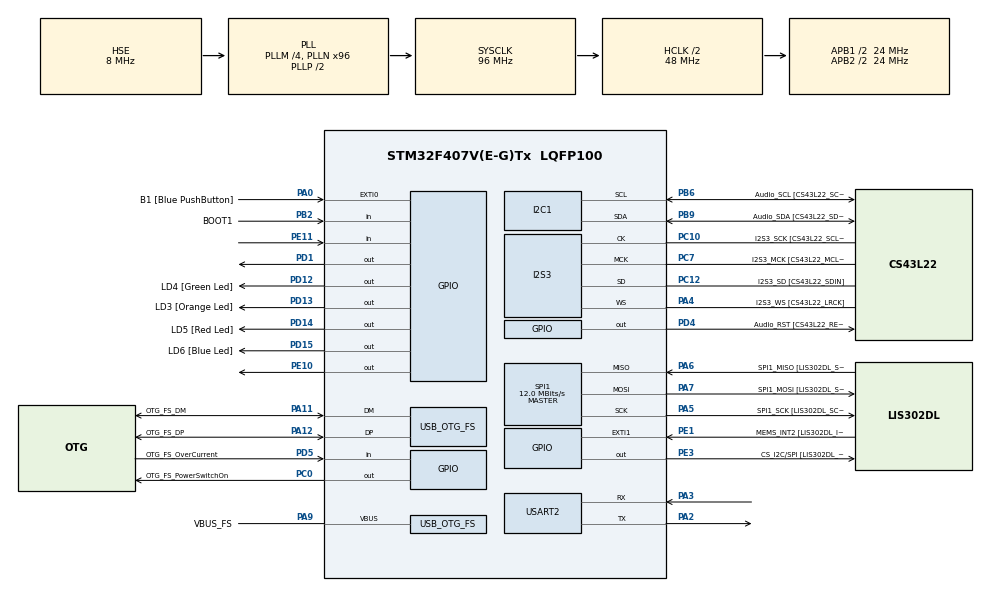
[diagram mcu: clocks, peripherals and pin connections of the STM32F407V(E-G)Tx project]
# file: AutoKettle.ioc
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Dma.Request0=USART2_RX
Dma.Request1=USART2_TX
Dma.USART2_RX.0.Direction=DMA_PERIPH_TO_MEMORY
Dma.USART2_RX.0.FIFOMode=DMA_FIFOMODE_DISABLE
Dma.USART2_RX.0.Instance=DMA1_Stream5
Dma.USART2_RX.0.MemDataAlignment=DMA_MDATAALIGN_BYTE
Dma.USART2_RX.0.MemInc=DMA_MINC_ENABLE
Dma.USART2_RX.0.Mode=DMA_CIRCULAR
Dma.USART2_RX.0.PeriphDataAlignment=DMA_PDATAALIGN_BYTE
Dma.USART2_RX.0.PeriphInc=DMA_PINC_DISABLE
Dma.USART2_RX.0.Priority=DMA_PRIORITY_VERY_HIGH
Dma.USART2_TX.1.Direction=DMA_MEMORY_TO_PERIPH
Dma.USART2_TX.1.FIFOMode=DMA_FIFOMODE_DISABLE
Dma.USART2_TX.1.Instance=DMA1_Stream6
Dma.USART2_TX.1.MemDataAlignment=DMA_MDATAALIGN_BYTE
Dma.USART2_TX.1.MemInc=DMA_MINC_ENABLE
Dma.USART2_TX.1.Mode=DMA_NORMAL
Dma.USART2_TX.1.PeriphDataAlignment=DMA_PDATAALIGN_BYTE
Dma.USART2_TX.1.PeriphInc=DMA_PINC_DISABLE
Dma.USART2_TX.1.Priority=DMA_PRIORITY_LOW
I2S3.AudioFreq=I2S_AUDIOFREQ_48K
I2S3.AudioFreq-Half_Duplex_Master=I2S_AUDIOFREQ_96K
I2S3.ErrorAudioFreq=1.72 %
I2S3.ErrorAudioFreq-Half_Duplex_Master=0.8 %
I2S3.FullDuplexMode=I2S_FULLDUPLEXMODE_DISABLE
I2S3.Instance=SPI$Index
I2S3.RealAudioFreq=48.828 KHz
I2S3.RealAudioFreq-Half_Duplex_Master=96.774 KHz
I2S3.VirtualMode=I2S_MODE_MASTER
Mcu.Family=STM32F4
Mcu.Name=STM32F407V(E-G)Tx
Mcu.Package=LQFP100
NVIC.DMA1_Stream5_IRQn=true\:0\:0\:false\:false\:true\:false
NVIC.DMA1_Stream6_IRQn=true\:0\:0\:false\:false\:true\:false
NVIC.OTG_FS_IRQn=true\:0\:0\:false\:false\:true\:true
NVIC.PriorityGroup=NVIC_PRIORITYGROUP_0
NVIC.RTC_Alarm_IRQn=true\:0\:1\:false\:false\:true\:true
NVIC.TIM3_IRQn=true\:0\:2\:true\:false\:true\:true
NVIC.USART2_IRQn=true\:0\:0\:false\:false\:true\:true
PA0-WKUP.GPIO_Label=B1 [Blue PushButton]
PA0-WKUP.GPIO_ModeDefaultEXTI=GPIO_MODE_EVT_RISING
PA0-WKUP.GPIO_PuPd=GPIO_NOPULL
PA0-WKUP.Signal=GPXTI0
PA10.GPIO_Label=OTG_FS_ID
PA10.GPIO_Mode=GPIO_MODE_AF_PP
PA10.GPIO_PuPd=GPIO_NOPULL
PA10.GPIO_Speed=GPIO_SPEED_FREQ_LOW
PA10.Signal=USB_OTG_FS_ID
PA11.GPIO_Label=OTG_FS_DM
PA11.GPIO_Mode=GPIO_MODE_AF_PP
PA11.GPIO_PuPd=GPIO_NOPULL
PA11.GPIO_Speed=GPIO_SPEED_FREQ_LOW
PA11.Mode=Host_Only
PA11.Signal=USB_OTG_FS_DM
PA12.GPIO_Label=OTG_FS_DP
PA12.GPIO_Mode=GPIO_MODE_AF_PP
PA12.GPIO_PuPd=GPIO_NOPULL
PA12.GPIO_Speed=GPIO_SPEED_FREQ_LOW
PA12.Mode=Host_Only
PA12.Signal=USB_OTG_FS_DP
PA13.GPIO_Label=SWDIO
PA13.Mode=Serial_Wire
PA13.Signal=SYS_JTMS-SWDIO
PA14.GPIO_Label=SWCLK
PA14.Mode=Serial_Wire
PA14.Signal=SYS_JTCK-SWCLK
PA2.Mode=Asynchronous
PA2.Signal=USART2_TX
PA3.Mode=Asynchronous
PA3.Signal=USART2_RX
PA4.GPIO_Label=I2S3_WS [CS43L22_LRCK]
PA4.GPIO_Mode=GPIO_MODE_AF_PP
PA4.GPIO_PuPd=GPIO_NOPULL
PA4.GPIO_Speed=GPIO_SPEED_FREQ_LOW
PA4.Mode=Half_Duplex_Master
PA4.Signal=I2S3_WS
PA5.GPIO_Label=SPI1_SCK [LIS302DL_SCL/SPC]
PA5.GPIO_Mode=GPIO_MODE_AF_PP
PA5.GPIO_PuPd=GPIO_NOPULL
PA5.GPIO_Speed=GPIO_SPEED_FREQ_LOW
PA5.Mode=Full_Duplex_Master
PA5.Signal=SPI1_SCK
PA6.GPIO_Label=SPI1_MISO [LIS302DL_SDO]
PA6.GPIO_Mode=GPIO_MODE_AF_PP
PA6.GPIO_PuPd=GPIO_NOPULL
PA6.GPIO_Speed=GPIO_SPEED_FREQ_LOW
PA6.Mode=Full_Duplex_Master
PA6.Signal=SPI1_MISO
PA7.GPIO_Label=SPI1_MOSI [LIS302DL_SDA/SDI/SDO]
PA7.GPIO_Mode=GPIO_MODE_AF_PP
PA7.GPIO_PuPd=GPIO_NOPULL
PA7.GPIO_Speed=GPIO_SPEED_FREQ_LOW
PA7.Mode=Full_Duplex_Master
PA7.Signal=SPI1_MOSI
PA9.GPIO_Label=VBUS_FS
PA9.GPIO_Mode=GPIO_MODE_INPUT
PA9.GPIO_PuPd=GPIO_NOPULL
PA9.Mode=Activate_VBUS
PA9.Signal=USB_OTG_FS_VBUS
PB10.GPIO_Label=CLK_IN [MP45DT02_CLK]
PB10.GPIO_Mode=GPIO_MODE_AF_PP
PB10.GPIO_PuPd=GPIO_NOPULL
PB10.GPIO_Speed=GPIO_SPEED_FREQ_LOW
PB10.Signal=I2S2_CK
PB2.GPIO_Label=BOOT1
PB2.GPIO_Mode=GPIO_MODE_INPUT
PB2.GPIO_PuPd=GPIO_NOPULL
PB2.Signal=GPIO_Input
PB3.GPIO_Label=SWO
PB3.Signal=SYS_JTDO-SWO
PB6.GPIO_Label=Audio_SCL [CS43L22_SCL]
PB6.GPIO_Mode=GPIO_MODE_AF_OD
PB6.GPIO_PuPd=GPIO_NOPULL
PB6.GPIO_Speed=GPIO_SPEED_FREQ_LOW
PB6.Mode=I2C
PB6.Signal=I2C1_SCL
PB9.GPIO_Label=Audio_SDA [CS43L22_SDA]
PB9.GPIO_Mode=GPIO_MODE_AF_OD
PB9.GPIO_PuPd=GPIO_NOPULL
PB9.GPIO_Speed=GPIO_SPEED_FREQ_LOW
PB9.Mode=I2C
PB9.Signal=I2C1_SDA
PC0.GPIO_Label=OTG_FS_PowerSwitchOn
PC0.GPIO_PuPd=GPIO_NOPULL
PC0.GPIO_Speed=GPIO_SPEED_FREQ_LOW
PC0.PinState=GPIO_PIN_SET
PC0.Signal=GPIO_Output
PC10.GPIO_Label=I2S3_SCK [CS43L22_SCLK]
PC10.GPIO_Mode=GPIO_MODE_AF_PP
PC10.GPIO_PuPd=GPIO_NOPULL
PC10.GPIO_Speed=GPIO_SPEED_FREQ_LOW
PC10.Mode=Half_Duplex_Master
PC10.Signal=I2S3_CK
PC12.GPIO_Label=I2S3_SD [CS43L22_SDIN]
PC12.GPIO_Mode=GPIO_MODE_AF_PP
PC12.GPIO_PuPd=GPIO_NOPULL
PC12.GPIO_Speed=GPIO_SPEED_FREQ_LOW
PC12.Mode=Half_Duplex_Master
PC12.Signal=I2S3_SD
PC14-OSC32_IN.GPIO_Label=PC14-OSC32_IN
PC14-OSC32_IN.Mode=LSE-External-Oscillator
PC14-OSC32_IN.Signal=RCC_OSC32_IN
PC15-OSC32_OUT.GPIO_Label=PC15-OSC32_OUT
PC15-OSC32_OUT.Mode=LSE-External-Oscillator
PC15-OSC32_OUT.Signal=RCC_OSC32_OUT
PC3.GPIO_Label=PDM_OUT [MP45DT02_DOUT]
PC3.GPIO_Mode=GPIO_MODE_AF_PP
PC3.GPIO_PuPd=GPIO_NOPULL
PC3.GPIO_Speed=GPIO_SPEED_FREQ_LOW
PC3.Signal=I2S2_SD
PC7.GPIO_Label=I2S3_MCK [CS43L22_MCLK]
PC7.GPIO_Mode=GPIO_MODE_AF_PP
PC7.GPIO_PuPd=GPIO_NOPULL
PC7.GPIO_Speed=GPIO_SPEED_FREQ_LOW
PC7.Mode=Master_Clock_Activated
PC7.Signal=I2S3_MCK
PD1.GPIO_ModeDefaultOutputPP=GPIO_MODE_OUTPUT_OD
PD1.Signal=GPIO_Output
PD12.GPIO_Label=LD4 [Green Led]
PD12.GPIO_PuPd=GPIO_NOPULL
PD12.GPIO_Speed=GPIO_SPEED_FREQ_LOW
PD12.Signal=GPIO_Output
PD13.GPIO_Label=LD3 [Orange Led]
PD13.GPIO_PuPd=GPIO_NOPULL
PD13.GPIO_Speed=GPIO_SPEED_FREQ_LOW
PD13.Signal=GPIO_Output
PD14.GPIO_Label=LD5 [Red Led]
PD14.GPIO_PuPd=GPIO_NOPULL
PD14.GPIO_Speed=GPIO_SPEED_FREQ_LOW
PD14.Signal=GPIO_Output
PD15.GPIO_Label=LD6 [Blue Led]
PD15.GPIO_PuPd=GPIO_NOPULL
PD15.GPIO_Speed=GPIO_SPEED_FREQ_LOW
PD15.Signal=GPIO_Output
PD4.GPIO_Label=Audio_RST [CS43L22_RESET]
PD4.GPIO_PuPd=GPIO_NOPULL
PD4.GPIO_Speed=GPIO_SPEED_FREQ_LOW
PD4.Signal=GPIO_Output
PD5.GPIO_Label=OTG_FS_OverCurrent
PD5.GPIO_Mode=GPIO_MODE_INPUT
PD5.GPIO_PuPd=GPIO_NOPULL
PD5.Signal=GPIO_Input
PE1.GPIO_Label=MEMS_INT2 [LIS302DL_INT2]
PE1.GPIO_ModeDefaultEXTI=GPIO_MODE_EVT_RISING
PE1.GPIO_PuPd=GPIO_NOPULL
PE1.Signal=GPXTI1
PE10.Signal=GPIO_Output
PE11.Signal=GPIO_Input
PE3.GPIO_Label=CS_I2C/SPI [LIS302DL_CS_I2C/SPI]
PE3.GPIO_PuPd=GPIO_NOPULL
PE3.GPIO_Speed=GPIO_SPEED_FREQ_LOW
PE3.Signal=GPIO_Output
PH0-OSC_IN.GPIO_Label=PH0-OSC_IN
PH0-OSC_IN.Mode=HSE-External-Oscillator
PH0-OSC_IN.Signal=RCC_OSC_IN
PH1-OSC_OUT.GPIO_Label=PH1-OSC_OUT
PH1-OSC_OUT.Mode=HSE-External-Oscillator
PH1-OSC_OUT.Signal=RCC_OSC_OUT
ProjectManager.HeapSize=0x200
ProjectManager.StackSize=0x400
ProjectManager.TargetToolchain=SW4STM32
RCC.48MHZClocksFreq_Value=48000000
RCC.AHBCLKDivider=RCC_SYSCLK_DIV2
RCC.AHBFreq_Value=48000000
RCC.APB1CLKDivider=RCC_HCLK_DIV2
RCC.APB1Freq_Value=24000000
RCC.APB1TimFreq_Value=48000000
RCC.APB2CLKDivider=RCC_HCLK_DIV2
RCC.APB2Freq_Value=24000000
RCC.APB2TimFreq_Value=48000000
RCC.CortexFreq_Value=48000000
RCC.HCLKFreq_Value=48000000
RCC.HSE_VALUE=8000000
RCC.HSI_VALUE=16000000
RCC.PLLI2SN=50
RCC.PLLM=4
RCC.PLLN=96
RCC.SYSCLKFreq_VALUE=96000000
RCC.SYSCLKSource=RCC_SYSCLKSOURCE_PLLCLK
RCC.VCOOutputFreq_Value=192000000
RTC.Alarm=RTC_ALARM_A
RTC.AlarmDateWeekDay=RTC_WEEKDAY_MONDAY
RTC.AlarmDateWeekDaySel=RTC_ALARMDATEWEEKDAYSEL_WEEKDAY
RTC.AlarmDateWeekDaySel_B=RTC_ALARMDATEWEEKDAYSEL_WEEKDAY
RTC.AlarmMaskSeconds=RTC_ALARMMASK_SECONDS
RTC.AlarmMaskSeconds_B=RTC_ALARMMASK_SECONDS
RTC.Alarm_B=RTC_ALARM_B
RTC.Date=19
RTC.Format=RTC_FORMAT_BIN
RTC.Hours=0
RTC.Hours_A=0
RTC.Hours_B=0
RTC.Minutes=0
RTC.Minutes_A=0
RTC.Month=RTC_MONTH_DECEMBER
RTC.Seconds=0
RTC.WeekDay=RTC_WEEKDAY_WEDNESDAY
RTC.Year=18
SPI1.BaudRatePrescaler-Full_Duplex_Master=SPI_BAUDRATEPRESCALER_2
SPI1.CalculateBaudRate=12.0 MBits/s
SPI1.CalculateBaudRate-Full_Duplex_Master=42.0 MBits/s
SPI1.Direction=SPI_DIRECTION_2LINES
SPI1.Mode=SPI_MODE_MASTER
SPI1.Mode-Full_Duplex_Master=SPI_MODE_MASTER
SPI1.VirtualType=VM_MASTER
TIM3.Period=4999
TIM3.Prescaler=47999
USART2.VirtualMode=VM_ASYNC
USB_HOST.BSP.number=1
USB_HOST.USBH_HandleTypeDef-CDC_FS=hUsbHostFS
USB_HOST.VirtualModeFS=Cdc
USB_HOST0.BSP.STBoard=false
USB_HOST0.BSP.api=Unknown
USB_HOST0.BSP.i2caddr=0
USB_HOST0.BSP.i2creg=0
USB_HOST0.BSP.instance=PC0
USB_HOST0.BSP.ip=GPIO
USB_HOST0.BSP.mode=Output
USB_HOST0.BSP.name=Drive_VBUS_FS
USB_HOST0.BSP.solution=PC0
USB_OTG_FS.VirtualMode=Host_Only
USB_OTG_FS.phy_itface=HCD_PHY_EMBEDDED
VP_RTC_VS_RTC_Activate.Mode=RTC_Enabled
VP_RTC_VS_RTC_Alarm_A_Intern.Mode=Alarm A
VP_RTC_VS_RTC_Alarm_B_Intern.Mode=Alarm B
VP_RTC_VS_RTC_Calendar.Mode=RTC_Calendar
VP_TIM3_VS_ClockSourceINT.Mode=Internal
VP_USB_HOST_VS_USB_HOST_CDC_FS.Mode=CDC_FS
board=STM32F4DISCOVERY

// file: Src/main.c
/**
 ******************************************************************************
 * @file           : main.c
 * @brief          : Main program body
 ******************************************************************************
 * This notice applies to any and all portions of this file
 * that are not between comment pairs USER CODE BEGIN and
 * USER CODE END. Other portions of this file, whether
 * inserted by the user or by software development tools
 * are owned by their respective copyright owners.
 *
 * Copyright (c) 2018 STMicroelectronics International N.V.
 * All rights reserved.
 *
 * Redistribution and use in source and binary forms, with or without
 * modification, are permitted, provided that the following conditions are met:
 *
 * 1. Redistribution of source code must retain the above copyright notice,
 *    this list of conditions and the following disclaimer.
 * 2. Redistributions in binary form must reproduce the above copyright notice,
 *    this list of conditions and the following disclaimer in the documentation
 *    and/or other materials provided with the distribution.
 * 3. Neither the name of STMicroelectronics nor the names of other
 *    contributors to this software may be used to endorse or promote products
 *    derived from this software without specific written permission.
 * 4. This software, including modifications and/or derivative works of this
 *    software, must execute solely and exclusively on microcontroller or
 *    microprocessor devices manufactured by or for STMicroelectronics.
 * 5. Redistribution and use of this software other than as permitted under
 *    this license is void and will automatically terminate your rights under
 *    this license.
 *
 * THIS SOFTWARE IS PROVIDED BY STMICROELECTRONICS AND CONTRIBUTORS "AS IS"
 * AND ANY EXPRESS, IMPLIED OR STATUTORY WARRANTIES, INCLUDING, BUT NOT
 * LIMITED TO, THE IMPLIED WARRANTIES OF MERCHANTABILITY, FITNESS FOR A
 * PARTICULAR PURPOSE AND NON-INFRINGEMENT OF THIRD PARTY INTELLECTUAL PROPERTY
 * RIGHTS ARE DISCLAIMED TO THE FULLEST EXTENT PERMITTED BY LAW. IN NO EVENT
 * SHALL STMICROELECTRONICS OR CONTRIBUTORS BE LIABLE FOR ANY DIRECT, INDIRECT,
 * INCIDENTAL, SPECIAL, EXEMPLARY, OR CONSEQUENTIAL DAMAGES (INCLUDING, BUT NOT
 * LIMITED TO, PROCUREMENT OF SUBSTITUTE GOODS OR SERVICES; LOSS OF USE, DATA,
 * OR PROFITS; OR BUSINESS INTERRUPTION) HOWEVER CAUSED AND ON ANY THEORY OF
 * LIABILITY, WHETHER IN CONTRACT, STRICT LIABILITY, OR TORT (INCLUDING
 * NEGLIGENCE OR OTHERWISE) ARISING IN ANY WAY OUT OF THE USE OF THIS SOFTWARE,
 * EVEN IF ADVISED OF THE POSSIBILITY OF SUCH DAMAGE.
 *
 ******************************************************************************
 */
#include "main.h"
#include "stm32f4xx_hal.h"
#include "usb_host.h"

/* USER CODE BEGIN Includes */
#include "hx711.h"
/* USER CODE END Includes */

I2C_HandleTypeDef hi2c1;

I2S_HandleTypeDef hi2s3;

RTC_HandleTypeDef hrtc;

SPI_HandleTypeDef hspi1;

TIM_HandleTypeDef htim3;

UART_HandleTypeDef huart2;
DMA_HandleTypeDef hdma_usart2_rx;
DMA_HandleTypeDef hdma_usart2_tx;

/* USER CODE BEGIN PV */
/* Private variables ---------------------------------------------------------*/
HX711 Wsensor;
char command[18];
int relay = 1;
int alarm = 0;
int inAlarm = 0;
RTC_TimeTypeDef sTime;
RTC_DateTypeDef sDate;
RTC_AlarmTypeDef sAlarmA, sAlarmB;
/* USER CODE END PV */

void SystemClock_Config(void);
static void MX_GPIO_Init(void);
static void MX_DMA_Init(void);
static void MX_I2C1_Init(void);
static void MX_I2S3_Init(void);
static void MX_SPI1_Init(void);
static void MX_USART2_UART_Init(void);
static void MX_RTC_Init(void);
static void MX_TIM3_Init(void);
void MX_USB_HOST_Process(void);

/* USER CODE BEGIN PFP */
/* Private function prototypes -----------------------------------------------*/

/* USER CODE END PFP */

/* USER CODE BEGIN 0 */
void HAL_UART_RxCpltCallback(UART_HandleTypeDef *huart) {
	if (command[9] == 'R') {
		if (command[10] == '0') {
			HAL_GPIO_WritePin(GPIOD, GPIO_PIN_1, GPIO_PIN_SET);
			relay = 0;
		} else if (command[10] == '1') {
			HAL_GPIO_WritePin(GPIOD, GPIO_PIN_1, GPIO_PIN_RESET);
			relay = 1;
		}
	} else if (command[9] == 'T') {
		sTime.Hours = ((uint8_t) (command[10] - '0')) * 10
				+ ((uint8_t) (command[11] - '0'));
		sTime.Minutes = ((uint8_t) (command[13] - '0')) * 10
				+ ((uint8_t) (command[14] - '0'));
		sTime.Seconds = ((uint8_t) (command[16] - '0')) * 10
				+ ((uint8_t) (command[17] - '0'));
		HAL_RTC_SetTime(&hrtc, &sTime, RTC_FORMAT_BIN);
	} else if (command[9] == 'A') {
		if (command[10] == 'F') {
			HAL_RTC_DeactivateAlarm(&hrtc, RTC_ALARM_A);
			HAL_RTC_DeactivateAlarm(&hrtc, RTC_ALARM_B);
		} else {
			HAL_RTC_GetTime(&hrtc, &sTime, RTC_FORMAT_BIN);
			HAL_RTC_GetDate(&hrtc, &sDate, RTC_FORMAT_BIN);
			sAlarmA.AlarmTime.Hours = ((uint8_t) (command[10] - '0')) * 10
					+ ((uint8_t) (command[11] - '0'));
			sAlarmA.AlarmTime.Minutes = ((uint8_t) (command[13] - '0')) * 10
					+ ((uint8_t) (command[14] - '0'));
			sAlarmA.AlarmTime.Seconds = ((uint8_t) (command[16] - '0')) * 10
					+ ((uint8_t) (command[17] - '0'));
			if (sTime.Hours > sAlarmA.AlarmTime.Hours) {
				if (sDate.WeekDay == RTC_WEEKDAY_SUNDAY) {
					sAlarmA.AlarmDateWeekDay = RTC_WEEKDAY_MONDAY;
				} else {
					sAlarmA.AlarmDateWeekDay = sDate.WeekDay + (uint8_t) 0x01;
				}
			} else if (sTime.Hours < sAlarmA.AlarmTime.Hours) {
				sAlarmA.AlarmDateWeekDay = sDate.WeekDay;
			} else {
				if (sTime.Minutes >= sAlarmA.AlarmTime.Minutes) {
					if (sDate.WeekDay == RTC_WEEKDAY_SUNDAY) {
						sAlarmA.AlarmDateWeekDay = RTC_WEEKDAY_MONDAY;
					} else {
						sAlarmA.AlarmDateWeekDay = sDate.WeekDay
								+ (uint8_t) 0x01;
					}
				} else {
					sAlarmA.AlarmDateWeekDay = sDate.WeekDay;
				}
			}

			HAL_RTC_SetAlarm_IT(&hrtc, &sAlarmA, RTC_FORMAT_BIN);
		}
	}
}
void HAL_UART_RxHalfCpltCallback(UART_HandleTypeDef *huart) {
	if (command[0] == 'R') {
		if (command[1] == '0') {
			HAL_GPIO_WritePin(GPIOD, GPIO_PIN_1, GPIO_PIN_SET);
			relay = 0;
		} else if (command[1] == '1') {
			HAL_GPIO_WritePin(GPIOD, GPIO_PIN_1, GPIO_PIN_RESET);
			relay = 1;
		}
	} else if (command[0] == 'T') {
		sTime.Hours = ((uint8_t) (command[1] - '0')) * 10
				+ ((uint8_t) (command[2] - '0'));
		sTime.Minutes = ((uint8_t) (command[4] - '0')) * 10
				+ ((uint8_t) (command[5] - '0'));
		sTime.Seconds = ((uint8_t) (command[7] - '0')) * 10
				+ ((uint8_t) (command[8] - '0'));
		HAL_RTC_SetTime(&hrtc, &sTime, RTC_FORMAT_BIN);
	} else if (command[0] == 'A') {
		if (command[1] == 'F') {
			HAL_RTC_DeactivateAlarm(&hrtc, RTC_ALARM_A);
			HAL_RTC_DeactivateAlarm(&hrtc, RTC_ALARM_B);
		} else {
			HAL_RTC_GetTime(&hrtc, &sTime, RTC_FORMAT_BIN);
			HAL_RTC_GetDate(&hrtc, &sDate, RTC_FORMAT_BIN);
			sAlarmA.AlarmTime.Hours = ((uint8_t) (command[1] - '0')) * 10
					+ ((uint8_t) (command[2] - '0'));
			sAlarmA.AlarmTime.Minutes = ((uint8_t) (command[4] - '0')) * 10
					+ ((uint8_t) (command[5] - '0'));
			sAlarmA.AlarmTime.Seconds = ((uint8_t) (command[7] - '0')) * 10
					+ ((uint8_t) (command[8] - '0'));
			if (sTime.Hours > sAlarmA.AlarmTime.Hours) {
				if (sDate.WeekDay == RTC_WEEKDAY_SUNDAY) {
					sAlarmA.AlarmDateWeekDay = RTC_WEEKDAY_MONDAY;
				} else {
					sAlarmA.AlarmDateWeekDay = sDate.WeekDay + (uint8_t) 0x01;
				}
			} else if (sTime.Hours < sAlarmA.AlarmTime.Hours) {
				sAlarmA.AlarmDateWeekDay = sDate.WeekDay;
			} else {
				if (sTime.Minutes >= sAlarmA.AlarmTime.Minutes) {
					if (sDate.WeekDay == RTC_WEEKDAY_SUNDAY) {
						sAlarmA.AlarmDateWeekDay = RTC_WEEKDAY_MONDAY;
					} else {
						sAlarmA.AlarmDateWeekDay = sDate.WeekDay
								+ (uint8_t) 0x01;
					}
				} else {
					sAlarmA.AlarmDateWeekDay = sDate.WeekDay;
				}
			}

			HAL_RTC_SetAlarm_IT(&hrtc, &sAlarmA, RTC_FORMAT_BIN);
		}
	}

}

void HAL_RTC_AlarmAEventCallback(RTC_HandleTypeDef *hrtc) {
	HAL_GPIO_WritePin(GPIOD, GPIO_PIN_1, GPIO_PIN_RESET);
	relay = 1;

	HAL_RTC_GetAlarm(hrtc, &sAlarmA, RTC_ALARM_A, RTC_FORMAT_BIN);

	if (sAlarmA.AlarmTime.Hours == 23 && sAlarmA.AlarmTime.Minutes >= 50) {
		if (sAlarmA.AlarmDateWeekDay == RTC_WEEKDAY_SUNDAY) {
			sAlarmB.AlarmDateWeekDay = RTC_WEEKDAY_MONDAY;
		} else {
			sAlarmB.AlarmDateWeekDay = sAlarmA.AlarmDateWeekDay
					+ (uint8_t) 0x01;
		}
		sAlarmB.AlarmTime.Hours = 0;
		sAlarmB.AlarmTime.Minutes = (sAlarmA.AlarmTime.Minutes + 10) % 60;
	} else {
		sAlarmB.AlarmDateWeekDay = sAlarmA.AlarmDateWeekDay;
		if (sAlarmA.AlarmTime.Minutes >= 50) {
			sAlarmB.AlarmTime.Hours = sAlarmA.AlarmTime.Hours + 1;
		} else {
			sAlarmB.AlarmTime.Hours = sAlarmA.AlarmTime.Hours;
		}
		sAlarmB.AlarmTime.Minutes = (sAlarmA.AlarmTime.Minutes + 10) % 60;

	}
	HAL_RTC_SetAlarm_IT(hrtc, &sAlarmB, RTC_FORMAT_BIN);

	if (sAlarmA.AlarmDateWeekDay == RTC_WEEKDAY_SUNDAY) {
		sAlarmA.AlarmDateWeekDay = RTC_WEEKDAY_MONDAY;
	} else {
		sAlarmA.AlarmDateWeekDay = sAlarmA.AlarmDateWeekDay + (uint8_t) 0x01;
	}
	HAL_RTC_SetAlarm_IT(hrtc, &sAlarmA, RTC_FORMAT_BIN);
}

void HAL_RTCEx_AlarmBEventCallback(RTC_HandleTypeDef *hrtc) {
	HAL_GPIO_WritePin(GPIOD, GPIO_PIN_1, GPIO_PIN_SET);
	relay = 0;
	HAL_RTC_DeactivateAlarm(hrtc, RTC_ALARM_B);
}
/* USER CODE END 0 */

int main(void) {

	/* MCU Configuration----------------------------------------------------------*/

	/* Reset of all peripherals, Initializes the Flash interface and the Systick. */
	HAL_Init();

	/* Configure the system clock */
	SystemClock_Config();

	/* Initialize all configured peripherals */
	MX_GPIO_Init();
	MX_DMA_Init();
	MX_I2C1_Init();
	MX_I2S3_Init();
	MX_SPI1_Init();
	MX_USB_HOST_Init();
	MX_USART2_UART_Init();
	MX_RTC_Init();
	MX_TIM3_Init();
	/* USER CODE BEGIN 2 */
	HAL_TIM_Base_Start_IT(&htim3);
	HAL_RTC_DeactivateAlarm(&hrtc, RTC_ALARM_A);
	HAL_RTC_DeactivateAlarm(&hrtc, RTC_ALARM_B);
	Wsensor.PD_SCK_PinType = GPIOE;
	Wsensor.PD_SCK_PinNumber = GPIO_PIN_10;
	Wsensor.DOUT_PinType = GPIOE;
	Wsensor.DOUT_PinNumber = GPIO_PIN_11;
	Wsensor.mode = 0;
	Wsensor.offset = 110000;
	HAL_GPIO_WritePin(GPIOD, GPIO_PIN_1, GPIO_PIN_SET);
	relay = 0;
	HAL_UART_Receive_DMA(&huart2, (uint8_t *) command, 18);

	/* USER CODE END 2 */

	/* Infinite loop */
	while (1) {
		MX_USB_HOST_Process();

		/* USER CODE BEGIN 3 */
		//HAL_RTC_GetTime(&hrtc, &sTime, RTC_FORMAT_BIN); //For debugging
		//HAL_RTC_GetDate(&hrtc, &sDate, RTC_FORMAT_BIN); //For debugging
		//HAL_RTC_GetAlarm(&hrtc, &sAlarmA, RTC_ALARM_A, RTC_FORMAT_BIN); //For debugging
		//HAL_RTC_GetAlarm(&hrtc, &sAlarmB, RTC_ALARM_B, RTC_FORMAT_BIN); //For debugging
		//HAL_Delay(100); //For debugging
	}
	/* USER CODE END 3 */

}

void SystemClock_Config(void) {

	RCC_OscInitTypeDef RCC_OscInitStruct;
	RCC_ClkInitTypeDef RCC_ClkInitStruct;
	RCC_PeriphCLKInitTypeDef PeriphClkInitStruct;

	/**Configure the main internal regulator output voltage
	 */
	__HAL_RCC_PWR_CLK_ENABLE()
	;

	__HAL_PWR_VOLTAGESCALING_CONFIG(PWR_REGULATOR_VOLTAGE_SCALE1);

	/**Initializes the CPU, AHB and APB busses clocks
	 */
	RCC_OscInitStruct.OscillatorType = RCC_OSCILLATORTYPE_LSI
			| RCC_OSCILLATORTYPE_HSE;
	RCC_OscInitStruct.HSEState = RCC_HSE_ON;
	RCC_OscInitStruct.LSIState = RCC_LSI_ON;
	RCC_OscInitStruct.PLL.PLLState = RCC_PLL_ON;
	RCC_OscInitStruct.PLL.PLLSource = RCC_PLLSOURCE_HSE;
	RCC_OscInitStruct.PLL.PLLM = 4;
	RCC_OscInitStruct.PLL.PLLN = 96;
	RCC_OscInitStruct.PLL.PLLP = RCC_PLLP_DIV2;
	RCC_OscInitStruct.PLL.PLLQ = 4;
	if (HAL_RCC_OscConfig(&RCC_OscInitStruct) != HAL_OK) {
		_Error_Handler(__FILE__, __LINE__);
	}

	/**Initializes the CPU, AHB and APB busses clocks
	 */
	RCC_ClkInitStruct.ClockType = RCC_CLOCKTYPE_HCLK | RCC_CLOCKTYPE_SYSCLK
			| RCC_CLOCKTYPE_PCLK1 | RCC_CLOCKTYPE_PCLK2;
	RCC_ClkInitStruct.SYSCLKSource = RCC_SYSCLKSOURCE_PLLCLK;
	RCC_ClkInitStruct.AHBCLKDivider = RCC_SYSCLK_DIV2;
	RCC_ClkInitStruct.APB1CLKDivider = RCC_HCLK_DIV2;
	RCC_ClkInitStruct.APB2CLKDivider = RCC_HCLK_DIV2;

	if (HAL_RCC_ClockConfig(&RCC_ClkInitStruct, FLASH_LATENCY_1) != HAL_OK) {
		_Error_Handler(__FILE__, __LINE__);
	}

	PeriphClkInitStruct.PeriphClockSelection = RCC_PERIPHCLK_I2S
			| RCC_PERIPHCLK_RTC;
	PeriphClkInitStruct.PLLI2S.PLLI2SN = 50;
	PeriphClkInitStruct.PLLI2S.PLLI2SR = 2;
	PeriphClkInitStruct.RTCClockSelection = RCC_RTCCLKSOURCE_LSI;
	if (HAL_RCCEx_PeriphCLKConfig(&PeriphClkInitStruct) != HAL_OK) {
		_Error_Handler(__FILE__, __LINE__);
	}

	/**Configure the Systick interrupt time
	 */
	HAL_SYSTICK_Config(HAL_RCC_GetHCLKFreq() / 1000);

	/**Configure the Systick
	 */
	HAL_SYSTICK_CLKSourceConfig(SYSTICK_CLKSOURCE_HCLK);

	/* SysTick_IRQn interrupt configuration */
	HAL_NVIC_SetPriority(SysTick_IRQn, 0, 0);
}

/* I2C1 init function */
static void MX_I2C1_Init(void) {

	hi2c1.Instance = I2C1;
	hi2c1.Init.ClockSpeed = 100000;
	hi2c1.Init.DutyCycle = I2C_DUTYCYCLE_2;
	hi2c1.Init.OwnAddress1 = 0;
	hi2c1.Init.AddressingMode = I2C_ADDRESSINGMODE_7BIT;
	hi2c1.Init.DualAddressMode = I2C_DUALADDRESS_DISABLE;
	hi2c1.Init.OwnAddress2 = 0;
	hi2c1.Init.GeneralCallMode = I2C_GENERALCALL_DISABLE;
	hi2c1.Init.NoStretchMode = I2C_NOSTRETCH_DISABLE;
	if (HAL_I2C_Init(&hi2c1) != HAL_OK) {
		_Error_Handler(__FILE__, __LINE__);
	}

}

/* I2S3 init function */
static void MX_I2S3_Init(void) {

	hi2s3.Instance = SPI3;
	hi2s3.Init.Mode = I2S_MODE_MASTER_TX;
	hi2s3.Init.Standard = I2S_STANDARD_PHILIPS;
	hi2s3.Init.DataFormat = I2S_DATAFORMAT_16B;
	hi2s3.Init.MCLKOutput = I2S_MCLKOUTPUT_ENABLE;
	hi2s3.Init.AudioFreq = I2S_AUDIOFREQ_48K;
	hi2s3.Init.CPOL = I2S_CPOL_LOW;
	hi2s3.Init.ClockSource = I2S_CLOCK_PLL;
	hi2s3.Init.FullDuplexMode = I2S_FULLDUPLEXMODE_DISABLE;
	if (HAL_I2S_Init(&hi2s3) != HAL_OK) {
		_Error_Handler(__FILE__, __LINE__);
	}

}

/* RTC init function */
static void MX_RTC_Init(void) {

	RTC_TimeTypeDef sTime;
	RTC_DateTypeDef sDate;
	RTC_AlarmTypeDef sAlarm;

	/**Initialize RTC Only
	 */
	hrtc.Instance = RTC;
	hrtc.Init.HourFormat = RTC_HOURFORMAT_24;
	hrtc.Init.AsynchPrediv = 127;
	hrtc.Init.SynchPrediv = 255;
	hrtc.Init.OutPut = RTC_OUTPUT_DISABLE;
	hrtc.Init.OutPutPolarity = RTC_OUTPUT_POLARITY_HIGH;
	hrtc.Init.OutPutType = RTC_OUTPUT_TYPE_OPENDRAIN;
	if (HAL_RTC_Init(&hrtc) != HAL_OK) {
		_Error_Handler(__FILE__, __LINE__);
	}

	/**Initialize RTC and set the Time and Date
	 */
	sTime.Hours = 0;
	sTime.Minutes = 0;
	sTime.Seconds = 0;
	sTime.DayLightSaving = RTC_DAYLIGHTSAVING_NONE;
	sTime.StoreOperation = RTC_STOREOPERATION_RESET;
	if (HAL_RTC_SetTime(&hrtc, &sTime, RTC_FORMAT_BIN) != HAL_OK) {
		_Error_Handler(__FILE__, __LINE__);
	}

	sDate.WeekDay = RTC_WEEKDAY_WEDNESDAY;
	sDate.Month = RTC_MONTH_DECEMBER;
	sDate.Date = 19;
	sDate.Year = 18;

	if (HAL_RTC_SetDate(&hrtc, &sDate, RTC_FORMAT_BIN) != HAL_OK) {
		_Error_Handler(__FILE__, __LINE__);
	}

	/**Enable the Alarm A
	 */
	sAlarm.AlarmTime.Hours = 0;
	sAlarm.AlarmTime.Minutes = 0;
	sAlarm.AlarmTime.Seconds = 0;
	sAlarm.AlarmTime.SubSeconds = 0;
	sAlarm.AlarmTime.DayLightSaving = RTC_DAYLIGHTSAVING_NONE;
	sAlarm.AlarmTime.StoreOperation = RTC_STOREOPERATION_RESET;
	sAlarm.AlarmMask = RTC_ALARMMASK_SECONDS;
	sAlarm.AlarmSubSecondMask = RTC_ALARMSUBSECONDMASK_ALL;
	sAlarm.AlarmDateWeekDaySel = RTC_ALARMDATEWEEKDAYSEL_WEEKDAY;
	sAlarm.AlarmDateWeekDay = RTC_WEEKDAY_MONDAY;
	sAlarm.Alarm = RTC_ALARM_A;
	if (HAL_RTC_SetAlarm_IT(&hrtc, &sAlarm, RTC_FORMAT_BIN) != HAL_OK) {
		_Error_Handler(__FILE__, __LINE__);
	}

	/**Enable the Alarm B
	 */
	sAlarm.AlarmDateWeekDay = RTC_WEEKDAY_MONDAY;
	sAlarm.Alarm = RTC_ALARM_B;
	if (HAL_RTC_SetAlarm_IT(&hrtc, &sAlarm, RTC_FORMAT_BIN) != HAL_OK) {
		_Error_Handler(__FILE__, __LINE__);
	}

}

/* SPI1 init function */
static void MX_SPI1_Init(void) {

	/* SPI1 parameter configuration*/
	hspi1.Instance = SPI1;
	hspi1.Init.Mode = SPI_MODE_MASTER;
	hspi1.Init.Direction = SPI_DIRECTION_2LINES;
	hspi1.Init.DataSize = SPI_DATASIZE_8BIT;
	hspi1.Init.CLKPolarity = SPI_POLARITY_LOW;
	hspi1.Init.CLKPhase = SPI_PHASE_1EDGE;
	hspi1.Init.NSS = SPI_NSS_SOFT;
	hspi1.Init.BaudRatePrescaler = SPI_BAUDRATEPRESCALER_2;
	hspi1.Init.FirstBit = SPI_FIRSTBIT_MSB;
	hspi1.Init.TIMode = SPI_TIMODE_DISABLE;
	hspi1.Init.CRCCalculation = SPI_CRCCALCULATION_DISABLE;
	hspi1.Init.CRCPolynomial = 10;
	if (HAL_SPI_Init(&hspi1) != HAL_OK) {
		_Error_Handler(__FILE__, __LINE__);
	}

}

/* TIM3 init function */
static void MX_TIM3_Init(void) {

	TIM_ClockConfigTypeDef sClockSourceConfig;
	TIM_MasterConfigTypeDef sMasterConfig;

	htim3.Instance = TIM3;
	htim3.Init.Prescaler = 47999;
	htim3.Init.CounterMode = TIM_COUNTERMODE_UP;
	htim3.Init.Period = 4999;
	htim3.Init.ClockDivision = TIM_CLOCKDIVISION_DIV1;
	if (HAL_TIM_Base_Init(&htim3) != HAL_OK) {
		_Error_Handler(__FILE__, __LINE__);
	}

	sClockSourceConfig.ClockSource = TIM_CLOCKSOURCE_INTERNAL;
	if (HAL_TIM_ConfigClockSource(&htim3, &sClockSourceConfig) != HAL_OK) {
		_Error_Handler(__FILE__, __LINE__);
	}

	sMasterConfig.MasterOutputTrigger = TIM_TRGO_RESET;
	sMasterConfig.MasterSlaveMode = TIM_MASTERSLAVEMODE_DISABLE;
	if (HAL_TIMEx_MasterConfigSynchronization(&htim3, &sMasterConfig)
			!= HAL_OK) {
		_Error_Handler(__FILE__, __LINE__);
	}

}

/* USART2 init function */
static void MX_USART2_UART_Init(void) {

	huart2.Instance = USART2;
	huart2.Init.BaudRate = 115200;
	huart2.Init.WordLength = UART_WORDLENGTH_8B;
	huart2.Init.StopBits = UART_STOPBITS_1;
	huart2.Init.Parity = UART_PARITY_NONE;
	huart2.Init.Mode = UART_MODE_TX_RX;
	huart2.Init.HwFlowCtl = UART_HWCONTROL_NONE;
	huart2.Init.OverSampling = UART_OVERSAMPLING_16;
	if (HAL_UART_Init(&huart2) != HAL_OK) {
		_Error_Handler(__FILE__, __LINE__);
	}

}

static void MX_DMA_Init(void) {
	/* DMA controller clock enable */
	__HAL_RCC_DMA1_CLK_ENABLE()
	;

	/* DMA interrupt init */
	/* DMA1_Stream5_IRQn interrupt configuration */
	HAL_NVIC_SetPriority(DMA1_Stream5_IRQn, 0, 0);
	HAL_NVIC_EnableIRQ(DMA1_Stream5_IRQn);
	/* DMA1_Stream6_IRQn interrupt configuration */
	HAL_NVIC_SetPriority(DMA1_Stream6_IRQn, 0, 0);
	HAL_NVIC_EnableIRQ(DMA1_Stream6_IRQn);

}

/** Configure pins as
 * Analog
 * Input
 * Output
 * EVENT_OUT
 * EXTI
 PC3   ------> I2S2_SD
 PB10   ------> I2S2_CK
 */
static void MX_GPIO_Init(void) {

	GPIO_InitTypeDef GPIO_InitStruct;

	/* GPIO Ports Clock Enable */
	__HAL_RCC_GPIOE_CLK_ENABLE()
	;
	__HAL_RCC_GPIOC_CLK_ENABLE()
	;
	__HAL_RCC_GPIOH_CLK_ENABLE()
	;
	__HAL_RCC_GPIOA_CLK_ENABLE()
	;
	__HAL_RCC_GPIOB_CLK_ENABLE()
	;
	__HAL_RCC_GPIOD_CLK_ENABLE()
	;

	/*Configure GPIO pin Output Level */
	HAL_GPIO_WritePin(GPIOE, CS_I2C_SPI_Pin | GPIO_PIN_10, GPIO_PIN_RESET);

	/*Configure GPIO pin Output Level */
	HAL_GPIO_WritePin(OTG_FS_PowerSwitchOn_GPIO_Port, OTG_FS_PowerSwitchOn_Pin,
			GPIO_PIN_SET);

	/*Configure GPIO pin Output Level */
	HAL_GPIO_WritePin(GPIOD,
			LD4_Pin | LD3_Pin | LD5_Pin | LD6_Pin | GPIO_PIN_1 | Audio_RST_Pin,
			GPIO_PIN_RESET);

	/*Configure GPIO pins : CS_I2C_SPI_Pin PE10 */
	GPIO_InitStruct.Pin = CS_I2C_SPI_Pin | GPIO_PIN_10;
	GPIO_InitStruct.Mode = GPIO_MODE_OUTPUT_PP;
	GPIO_InitStruct.Pull = GPIO_NOPULL;
	GPIO_InitStruct.Speed = GPIO_SPEED_FREQ_LOW;
	HAL_GPIO_Init(GPIOE, &GPIO_InitStruct);

	/*Configure GPIO pin : OTG_FS_PowerSwitchOn_Pin */
	GPIO_InitStruct.Pin = OTG_FS_PowerSwitchOn_Pin;
	GPIO_InitStruct.Mode = GPIO_MODE_OUTPUT_PP;
	GPIO_InitStruct.Pull = GPIO_NOPULL;
	GPIO_InitStruct.Speed = GPIO_SPEED_FREQ_LOW;
	HAL_GPIO_Init(OTG_FS_PowerSwitchOn_GPIO_Port, &GPIO_InitStruct);

	/*Configure GPIO pin : PDM_OUT_Pin */
	GPIO_InitStruct.Pin = PDM_OUT_Pin;
	GPIO_InitStruct.Mode = GPIO_MODE_AF_PP;
	GPIO_InitStruct.Pull = GPIO_NOPULL;
	GPIO_InitStruct.Speed = GPIO_SPEED_FREQ_LOW;
	GPIO_InitStruct.Alternate = GPIO_AF5_SPI2;
	HAL_GPIO_Init(PDM_OUT_GPIO_Port, &GPIO_InitStruct);

	/*Configure GPIO pin : B1_Pin */
	GPIO_InitStruct.Pin = B1_Pin;
	GPIO_InitStruct.Mode = GPIO_MODE_EVT_RISING;
	GPIO_InitStruct.Pull = GPIO_NOPULL;
	HAL_GPIO_Init(B1_GPIO_Port, &GPIO_InitStruct);

	/*Configure GPIO pin : BOOT1_Pin */
	GPIO_InitStruct.Pin = BOOT1_Pin;
	GPIO_InitStruct.Mode = GPIO_MODE_INPUT;
	GPIO_InitStruct.Pull = GPIO_NOPULL;
	HAL_GPIO_Init(BOOT1_GPIO_Port, &GPIO_InitStruct);

	/*Configure GPIO pin : PE11 */
	GPIO_InitStruct.Pin = GPIO_PIN_11;
	GPIO_InitStruct.Mode = GPIO_MODE_INPUT;
	GPIO_InitStruct.Pull = GPIO_NOPULL;
	HAL_GPIO_Init(GPIOE, &GPIO_InitStruct);

	/*Configure GPIO pin : CLK_IN_Pin */
	GPIO_InitStruct.Pin = CLK_IN_Pin;
	GPIO_InitStruct.Mode = GPIO_MODE_AF_PP;
	GPIO_InitStruct.Pull = GPIO_NOPULL;
	GPIO_InitStruct.Speed = GPIO_SPEED_FREQ_LOW;
	GPIO_InitStruct.Alternate = GPIO_AF5_SPI2;
	HAL_GPIO_Init(CLK_IN_GPIO_Port, &GPIO_InitStruct);

	/*Configure GPIO pins : LD4_Pin LD3_Pin LD5_Pin LD6_Pin
	 Audio_RST_Pin */
	GPIO_InitStruct.Pin = LD4_Pin | LD3_Pin | LD5_Pin | LD6_Pin | Audio_RST_Pin;
	GPIO_InitStruct.Mode = GPIO_MODE_OUTPUT_PP;
	GPIO_InitStruct.Pull = GPIO_NOPULL;
	GPIO_InitStruct.Speed = GPIO_SPEED_FREQ_LOW;
	HAL_GPIO_Init(GPIOD, &GPIO_InitStruct);

	/*Configure GPIO pin : PD1 */
	GPIO_InitStruct.Pin = GPIO_PIN_1;
	GPIO_InitStruct.Mode = GPIO_MODE_OUTPUT_OD;
	GPIO_InitStruct.Pull = GPIO_NOPULL;
	GPIO_InitStruct.Speed = GPIO_SPEED_FREQ_LOW;
	HAL_GPIO_Init(GPIOD, &GPIO_InitStruct);

	/*Configure GPIO pin : OTG_FS_OverCurrent_Pin */
	GPIO_InitStruct.Pin = OTG_FS_OverCurrent_Pin;
	GPIO_InitStruct.Mode = GPIO_MODE_INPUT;
	GPIO_InitStruct.Pull = GPIO_NOPULL;
	HAL_GPIO_Init(OTG_FS_OverCurrent_GPIO_Port, &GPIO_InitStruct);

	/*Configure GPIO pin : MEMS_INT2_Pin */
	GPIO_InitStruct.Pin = MEMS_INT2_Pin;
	GPIO_InitStruct.Mode = GPIO_MODE_EVT_RISING;
	GPIO_InitStruct.Pull = GPIO_NOPULL;
	HAL_GPIO_Init(MEMS_INT2_GPIO_Port, &GPIO_InitStruct);

}

void _Error_Handler(char *file, int line) {
	while (1) {
	}
}

/************************ (C) COPYRIGHT STMicroelectronics *****END OF FILE****/
